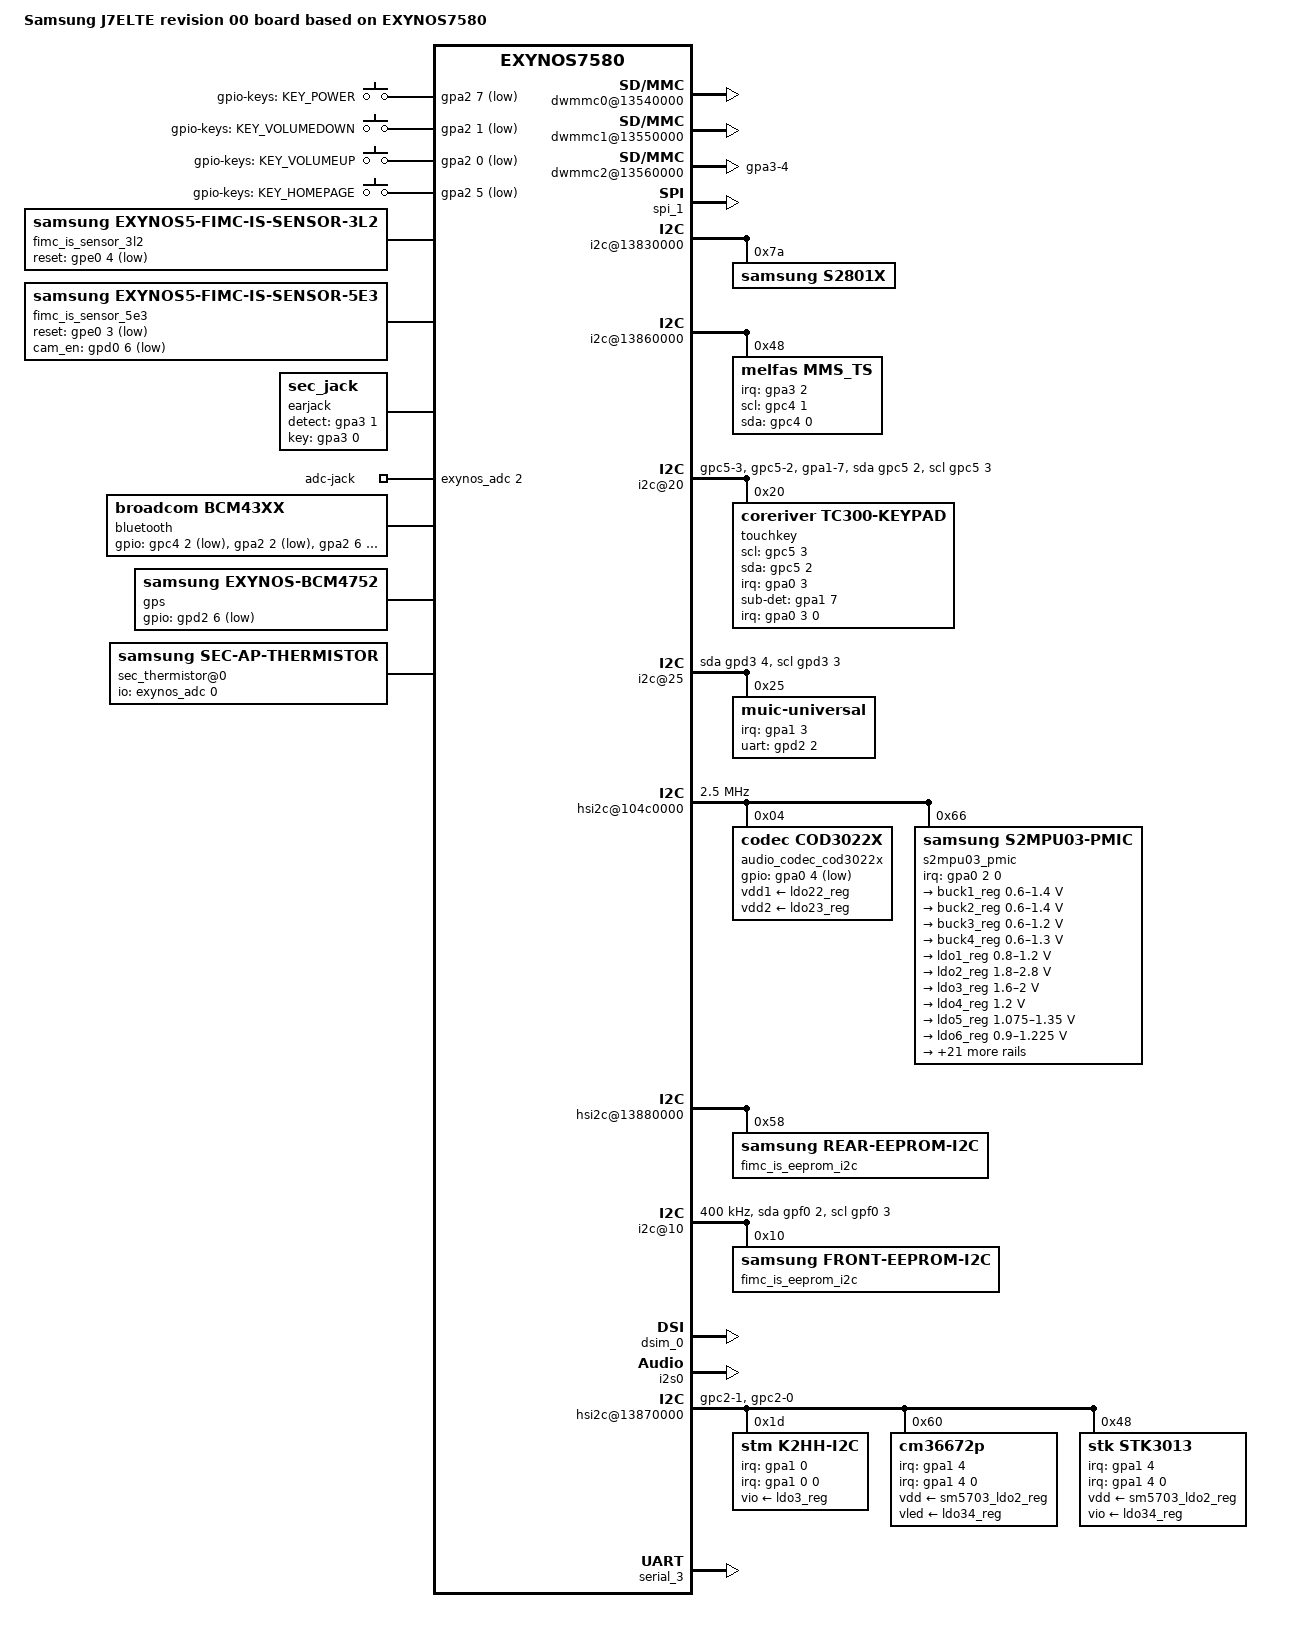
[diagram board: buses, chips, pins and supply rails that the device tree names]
/*
 * SAMSUNG Universal7580 board device tree source
 *
 * Copyright (c) 2014 Samsung Electronics Co., Ltd.
 *		http://www.samsung.com
 *
 * This program is free software; you can redistribute it and/or modify
 * it under the terms of the GNU General Public License version 2 as
 * published by the Free Software Foundation.
 */
/dts-v1/;
#include "exynos7580-reserve-1500MB.dtsi"
#include "exynos7580.dtsi"
#include "modem-isla-pdata.dtsi"
#include "exynos7580-j7elte_battery.dtsi"
#include "exynos7580-j7elte_gpio_04.dtsi"
/ {
	model = "Samsung J7ELTE revision 00 board based on EXYNOS7580";
	model_info-chip = <7580>;
	model_info-platform = "android";
	model_info-subtype = "samsung";
	model_info-hw_rev = <4>;
	model_info-hw_rev_end = <5>;
	compatible = "samsung,exynos7580-universal7580,r01", "samsung,exynos7580";
	chosen {
		bootargs = "console=ttySAC1,115200n8 ess_setup=0x46000000 pmic_info=0x02";
		linux,initrd-start = <0x42000000>;
		linux,initrd-end = <0x421FFFFF>;
	};
	fixed-rate-clocks {
		oscclk {
			compatible = "samsung,exynos7580-oscclk";
			clock-frequency = <26000000>;
		};
	};
	dwmmc0@13540000 {
		status = "okay";
		num-slots = <1>;
		broken-cd;
		use-smu;
		fixed_volt;
		clock-gate;
		enable-cclk-on-suspend;
		only_once_tune;
		use-fine-tuning;
		ignore-phase = <(1 << 7)>;
		bypass-for-allpass;
		supports-highspeed;
		supports-hs200-mode;
		supports-ddr200-enhanced-strobe;
		supports-poweroff-notification;
		supports-ddr200-mode;
		enable-cache-control;
		use-enable-shift;
		enable-ulp-mode;
		desc-size = <4>;
		qos_int_level = <200000>;
		fifo-depth = <0x40>;
		card-detect-delay = <100>;
		data-timeout = <200>;
		samsung,dw-mshc-ciu-div = <3>;
		samsung,dw-mshc-sdr-timing = <3 0 2 0>;
		samsung,dw-mshc-ddr-timing = <3 0 2 2>;
		samsung,dw-mshc-hs200-timing = <3 0 3 0>;
		samsung,dw-mshc-ddr200-timing = <1 0 2 0>;
		samsung,dw-mshc-ddr200-ulp-timing = <3 0 3 0>;
		samsung,dw-mshc-ddr200-delay-line = <0x28>;
		samsung,dw-mshc-ddr200-tx-delay-line = <0x28>;
		samsung,dw-mshc-txdt-crc-timer-fastlimit = <0x34>;
		samsung,dw-mshc-txdt-crc-timer-initval = <0x38>;
		clk_pin = "gpr0-0";
		clk_addr = "13750000.pinctrl";
		clk_val = <0x2>;
		clk_str_num = <3>;
		num-ref-clks = <10>;
		ciu_clkin = <25 50 50 100 200 100 200 400 400 200>;
		pinctrl-names = "default";
		pinctrl-0 = <&sd0_clk &sd0_cmd &sd0_rdqs &sd0_bus1 &sd0_bus4 &sd0_bus8>;
		slot@0 {
			reg = <0>;
			bus-width = <8>;
		};
	};
	dwmmc1@13550000 {
		status = "okay";
		num-slots = <1>;
		channel = <1>;
		fixed_volt;
		clock-gate;
		enable-cclk-on-suspend;
		/* broken-cd; */
		caps-control;
		supports-highspeed;
		keep-power-in-suspend;
		pm-ignore-notify;
		cd-type-external;
		use-broken-voltage;
		use-fine-tuning;
		ignore-phase = <(1 << 7)>;
		fifo-depth = <0x40>;
		card-detect-delay = <200>;
		qos_int_level = <468000>;
		samsung,dw-mshc-ciu-div = <3>;
		samsung,dw-mshc-sdr-timing = <3 0 2 1>;
		samsung,dw-mshc-ddr-timing = <3 0 2 1>;
		clk_pin = "gpr2-0";
		clk_addr = "13750000.pinctrl";
		clk_val = <0x2>;
		clk_str_num = <6>;
		num-ref-clks = <8>;
		ciu_clkin = <25 50 50 100 200 100 200 400>;
		tp_mon_depth = <2>;
				/* Byte/s,  MIF clk, CPU clk, KFC clk*/
                tp_mon_table = <8000000 825000  800000  0
				0       0       0       0>;
		pinctrl-names = "default";
		pinctrl-0 = <&sd1_clk &sd1_cmd &sd1_bus1 &sd1_bus4>;
		slot@0 {
			reg = <0>;
			bus-width = <4>;
		};
	};
	dwmmc2@13560000 {
		status = "okay";
		num-slots = <1>;
		supports-highspeed;
		enable-cclk-on-suspend;
		supports-sdr104-mode;
		bypass-smu;
		use-fine-tuning;
		clock-gate;
		fifo-depth = <0x40>;
		card-detect-delay = <200>;
		data-timeout = <200>;
		ignore-phase = <(1 << 7)>;
		bypass-for-allpass;
		desc-size = <4>;
		samsung,dw-mshc-ciu-div = <3>;
		samsung,dw-mshc-sdr-timing = <3 0 2 0>;
		samsung,dw-mshc-ddr-timing = <3 0 2 1>;
		clk_pin = "gpr4-0";
		clk_addr = "13750000.pinctrl";
		clk_val = <0x2>;
		clk_str_num = <3>;
		num-ref-clks = <8>;
		ciu_clkin = <25 50 50 100 200 100 200 400>;
		pinctrl-names = "default", "output";
		pinctrl-0 = <&sd2_clk &sd2_cmd &sd2_bus1 &sd2_bus4 &dwmmc2_cd_ext_irq>;
		pinctrl-1 = <&sd2_clk_output &sd2_cmd_output &sd2_bus1 &sd2_bus4 &dwmmc2_cd_ext_irq>;
		gpio-controller;
		cd-type-gpio;
		sec-sd-slot-type = <1>; /* Normal SD slot */
		#gpio-cells = <2>;
		cd-gpio = <&gpa3 4 0xf>;
		slot@0 {
			reg = <0>;
			bus-width = <4>;
			disable-wp;
		};
	};
	gpio_keys{
		compatible = "gpio-keys";
		pinctrl-names = "default";
		pinctrl-0 = <&gpa2_pull_up_univ>;
		button@1 {
			label = "gpio-keys: KEY_POWER";
			interrupt-parent = <&gpa2>;
			linux,code = <116>;
			gpios = <&gpa2 7 0xf>;
			gpio-key,wakeup = <1>;
		};
		button@2 {
			label = "gpio-keys: KEY_VOLUMEDOWN";
			interrupt-parent = <&gpa2>;
			linux,code = <114>;
			gpios = <&gpa2 1 0xf>;
		};
		button@3 {
			label = "gpio-keys: KEY_VOLUMEUP";
			interrupt-parent = <&gpa2>;
			linux,code = <115>;
			gpios = <&gpa2 0 0xf>;
		};
		button@4 {
			label = "gpio-keys: KEY_HOMEPAGE";
			interrupt-parent = <&gpa2>;
			linux,code = <172>;
			gpios = <&gpa2 5 0xf>;
			gpio-key,wakeup = <1>;
		};
	};
	pinctrl@138D0000 {
		i2c_pdn_off: i2c-pdn_off {
			samsung,pins = "gpc4-1", "gpc4-0";
			samsung,pin-con-pdn = <2>;
			samsung,pin-pud-pdn = <1>;
		};
	};
	pinctrl@139B0000 {
		pmic_irq: pmic-irq {
			samsung,pins = "gpa0-2";
			samsung,pin-pud = <3>;
			samsung,pin-drv = <3>;
		};
		cfg_irq: cfg-irq {
			samsung,pins = "gpa0-3";
			samsung,pin-function = <0xf>;
			samsung,pin-pud = <3>;
			samsung,pin-drv = <0>;
		};
		cfg_input: cfg-input {
			samsung,pins = "gpa0-3";
			samsung,pin-function = <0>;
			samsung,pin-pud = <1>;
			samsung,pin-drv = <0>;
		};
		cod3022_irq: cod3022-irq {
			samsung,pins = "gpa0-4";
			samsung,pin-pud = <3>;
			samsung,pin-drv = <3>;
		};
		if_irq: if-irq {
			samsung,pins = "gpa0-5";
			samsung,pin-pud = <3>;
			samsung,pin-drv = <3>;
		};
		hall_irq: hall-irq {
			samsung,pins = "gpa3-6";
	                samsung,pin-function = <0xf>;
			samsung,pin-pud = <0>;
			samsung,pin-drv = <0>;
		};
		muic_irq: muic-irq {
			samsung,pins = "gpa1-3";
			samsung,pin-pud = <0>;
			samsung,pin-drv = <0>;
		};
		sub_det: sub-det {
			samsung,pins = "gpa1-7";
			samsung,pin-function = <0>;
			samsung,pin-pud = <0>;
			samsung,pin-drv = <0>;
		};
		attn_input: attn-input {
			samsung,pins = "gpa3-2";
			samsung,pin-function = <0>;
			samsung,pin-pud = <0>;
			samsung,pin-drv = <0>;
		};
		attn_irq: attn-irq {
			samsung,pins = "gpa3-2";
			samsung,pin-function = <0xf>;
			samsung,pin-pud = <0>;
			samsung,pin-drv = <0>;
		};
		dwmmc2_cd_ext_irq: dwmmc2_cd_ext_irq {
			samsung,pins = "gpa3-4";
			samsung,pin-function = <0xf>;
			samsung,pin-pud = <3>;
			samsung,pin-drv = <0>;
		};
		earjack_jack_det: jack-det {
			samsung,pins = "gpa3-1";
			samsung,pin-function = <0xf>;
			samsung,pin-pud = <0>;
			samsung,pin-drv = <0>;
		};
		earjack_key_det: key-det {
			samsung,pins = "gpa3-0";
			samsung,pin-function = <0xf>;
			samsung,pin-pud = <0>;
			samsung,pin-drv = <0>;
		};
	};
	pinctrl@139C0000 {
		vibetonz_pwm: vibetonz_pwm {
			samsung,pins = "gpc1-1";
			samsung,pin-function = <2>;
			samsung,pin-pud = <0>;
			samsung,pin-drv = <0>;
		};
		cfg_i2c: cfg-i2c {
			samsung,pins = "gpc5-3", "gpc5-2";
			samsung,pin-function = <2>;
			samsung,pin-pud = <0>;
			samsung,pin-drv = <0>;
		};
		cfg_gpio: cfg-gpio {
			samsung,pins = "gpc5-3", "gpc5-2";
			samsung,pin-function = <0>;
			samsung,pin-pud = <0>;
			samsung,pin-drv = <0>;
		};
		motor_en: motor_en {
			samsung,pins = "gpe0-7";
			samsung,pin-function = <1>;	/* output */
			samsung,pin-pud = <3>;		/* pull up */
			samsung,pin-drv = <0>;
		};
		/* Warm reset information from AP */
		pm_wrsti: pm-wrsti {
			samsung,pins = "gpe1-0";
			samsung,pin-con-pdn = <3>;
		};
	};
	spi_1: spi@13920000 {
		/delete-property/ dma-mode;
		/delete-property/ dmas;
		/delete-property/ dma-names;
		#address-cells = <1>;
		#size-cells = <0>;
		pinctrl-names = "default";
		pinctrl-0 = <&spi1_bus>;
		pinctrl-1 = <&spi1_cs>;
		status = "okay";
	};
	i2c@13830000 {
		samsung,i2c-sda-delay = <100>;
		samsung,i2c-max-bus-freq = <400000>;
		status = "okay";
		#address-cells = <1>;
		#size-cells = <0>;
		supports-bus-clear;
		s2801x: s2801x@7a {
			compatible = "samsung,s2801x";
			reg = <0x7a>;
			clocks = <&clock 154>,	/* sclk_audmixer */
				 <&clock 155>,	/* sclk_audmixer_bclk0*/
				 <&clock 156>,	/* sclk_audmixer_bclk1 */
				 <&clock 157>,	/* sclk_audmixer_bclk2 */
				 <&clock 152>,	/* bclk_mi2s */
				 <&clock 149>;	/* dout_audmixer*/
			clock-names = "audmixer_sysclk", "audmixer_bclk0",
					"audmixer_bclk1", "audmixer_bclk2",
					"mi2s_bclk", "audmixer_dout";
			sysreg-reset = <0x110F2000>;
			sysreg-i2c = <0x110F3000>;
			pinctrl-names = "default", "idle", "bt-idle";
			pinctrl-0 = <&i2s_pmic_bus
					&i2s_codec_clk
					&pcm_bt_bus>;
			pinctrl-1 = <&i2s_pmic_bus_idle
					&i2s_codec_clk_idle
					&pcm_bt_bus_idle>;
			pinctrl-2 = <&i2s_pmic_bus
					&i2s_codec_clk
					&pcm_bt_bus_idle>;
			samsung,lpass-subip;
		};
	};
	i2c@13860000 {
		samsung,i2c-sda-delay = <100>;
		samsung,i2c-max-bus-freq = <400000>;
		status = "okay";
		#address-cells = <1>;
		#size-cells = <0>;
		mms_ts@48 {
			compatible = "melfas,mms_ts";
			reg = <0x48>;
			pinctrl-names = "on_state", "off_state";
			pinctrl-0 = <&attn_irq>;
			pinctrl-1 = <&attn_input &i2c_pdn_off>;
			melfas,vdd_en = "tsp_avdd";
			melfas,irq-gpio = <&gpa3 2 0>;
			melfas,scl-gpio = <&gpc4 1 0>;
			melfas,sda-gpio = <&gpc4 0 0>;
			melfas,max_x = <1080>;
			melfas,max_y = <1920>;
			melfas,fw_name = "tsp_melfas/mms438_j7.fw";
		};
	};
	i2c@20 {
		compatible = "i2c-gpio";
		gpios = <&gpc5 2 0
				&gpc5 3 0>;
		i2c-gpio,delay-us = <5>;
		pinctrl-names = "default","on_i2c","off_i2c";
		pinctrl-0 = <&cfg_i2c &sub_det>;
		pinctrl-1 = <&cfg_i2c>;
		pinctrl-2 = <&cfg_gpio>;
		#address-cells = <1>;
		#size-cells = <0>;
		status = "okay";
		touchkey@20 {
			pinctrl-names = "on_irq","off_irq";
			pinctrl-0 = <&cfg_irq>;
			pinctrl-1 = <&cfg_input>;
			compatible = "coreriver,tc300-keypad";
			reg = <0x20>;
			interrupts = <3 0 0>;
			interrupt-parent = <&gpa0>;
			coreriver,scl-gpio = <&gpc5 3 0>;
			coreriver,sda-gpio = <&gpc5 2 0>;
			coreriver,irq-gpio = <&gpa0 3 0>;
			coreriver,sub-det-gpio = <&gpa1 7 0>;
			coreriver,i2c-gpio = "true";
			coreriver,boot-on-ldo = "true";
			coreriver,regulator_ic = "vtouch_2.2v";
			coreriver,fw_name = "coreriver/tc350k_j7.fw";
			coreriver,sensing_ch_num = <0x4>;
			coreriver,tsk_ic_num = <0x1>; /* tc300k : 0x00, tc350k : 0x01 */
			coreriver,use_bitmap = <1>;
		};
	};
	i2c@25 {
		compatible = "i2c-gpio";
		gpios = <&gpd3 4 0
			&gpd3 3 0>;
		i2c-gpio,delay-us = <5>;
		#address-cells = <1>;
		#size-cells = <0>;
		status = "okay";
		muic-universal@25 {
			status = "okay";
			compatible = "muic-universal";
			reg = <0x25>;
			pinctrl-names = "default";
			pinctrl-0 = <&muic_irq>;
			muic-universal,chip_name = "sm,sm5703";
			muic-universal,irq-gpio = <&gpa1 3 0>;
			muic-universal,uart-gpio = <&gpd2 2 0>;
			muic-universal,uart-ap = <0x1>;
		};
	};
	muic {
		status = "disabled";
		muic,support-list = "+OTG:GND",
					"-MHL:1K",
					"-VZW Accessory:28.7K",
					"-VZW Incompatible:34K",
					"-Smartdock:40.2K",
					"-HMT:49.9K",
					"-Audiodock:64.9K",
					"-USB LANHUB:80.07K",
					"+Charging Cable:102K",
					"-Universal Multimedia dock:121K",
					"+Jig USB Off:255K",
					"+Jig USB On:301K",
					"-Deskdock:365K",
					"+TYPE2 Charger:442K",
					"+Jig UART Off:523K",
					"+Jig UART On:619K",
					"+TA:OPEN",
					"+USB:OPEN",
					"+CDP:OPEN",
					"+Undefined Charging:XXX";
	};
	hsi2c@104c0000 {
		status = "okay";
		samsung,hs-mode;
		clock-frequency = <2500000>;
		samsung,hsi2c-batcher;
		#address-cells = <1>;
		#size-cells = <0>;
		audio_codec_cod3022x: cod3022x@04 {
			compatible = "codec,cod3022x";
			reg = <0x04>;
			ten-bit-address;
			vdd1-supply = <&ldo22_reg>;
			vdd2-supply = <&ldo23_reg>;
			pinctrl-names = "default";
			pinctrl-0 = <&cod3022_irq>;
			interrupt-parent = <&gpa0>;
			gpios = <&gpa0 4 0xf>;
			/* Mic Bias: 0->n/a, 1->2.8v, 2->2.6v, 3->3.0v */
			mic-bias1-voltage = <1>;
			mic-bias2-voltage = <1>;
		};
		s2mpu03_pmic@66 {
			compatible = "samsung,s2mpu03-pmic";
			reg = <0x66>;
			ten-bit-address;
			interrupts = <2 0 0>;
			interrupt-parent = <&gpa0>;
			pinctrl-names = "default";
			pinctrl-0 = <&pmic_irq &pm_wrsti>;
			g3d_en = <1>; /* 1 : enable , 0 : disable */
			/*
			buck4en_pin = "etc1-3";
			buck4en_addr = "1111111.pinctrl";
			*/
			/* RTC: wtsr/smpl */
			wtsr_en = <1>; /* enable */
			smpl_en = <1>; /* enable */
			wtsr_timer_val = <3>;   /* 1000ms */
			smpl_timer_val = <4>;   /* 500ms */
			check_jigon = <0>; /* do not check jigon */
			/* RTC: If it's first boot, reset rtc to 1/1/2015 12:00:00(Thu) */
			init_time,sec = <0>;
			init_time,min = <0>;
			init_time,hour = <12>;
			init_time,mday = <1>;
			init_time,mon = <0>;
			init_time,year = <115>;
			init_time,wday = <4>;
			regulators {
				buck1_reg: BUCK1 {
					regulator-name = "cpu-cluster.1";
					regulator-min-microvolt = <600000>;
					regulator-max-microvolt = <1400000>;
					regulator-always-on;
					regulator-boot-on;
					regulator-ramp-delay = <12000>;
					regulator-initial-mode = <1>;
				};
				buck2_reg: BUCK2 {
					regulator-name = "cpu-cluster.0";
					regulator-min-microvolt = <600000>;
					regulator-max-microvolt = <1400000>;
					regulator-always-on;
					regulator-boot-on;
					regulator-ramp-delay = <12000>;
					regulator-initial-mode = <1>;
				};
				buck3_reg: BUCK3 {
					regulator-name = "vdd_intmif";
					regulator-min-microvolt = <600000>;
					regulator-max-microvolt = <1200000>;
					regulator-always-on;
					regulator-boot-on;
					regulator-ramp-delay = <12000>;
					regulator-initial-mode = <1>;
				};
				buck4_reg: BUCK4 {
					regulator-name = "vdd_g3d";
					regulator-min-microvolt = <600000>;
					regulator-max-microvolt = <1300000>;
					regulator-always-on;
					regulator-boot-on;
					regulator-ramp-delay = <12000>;
					regulator-initial-mode = <1>;
				};
				ldo1_reg: LDO1 {
					regulator-name = "vdd_ldo1";
					regulator-min-microvolt = <800000>;
					regulator-max-microvolt = <1200000>;
					regulator-always-on;
					regulator-ramp-delay = <12000>;
					regulator-initial-mode = <3>;
				};
				ldo2_reg: LDO2 {
					regulator-name = "vqmmc";
					regulator-min-microvolt = <1800000>;
					regulator-max-microvolt = <2800000>;
					regulator-boot-on;
					regulator-ramp-delay = <12000>;
					regulator-initial-mode = <1>;
				};
				ldo3_reg: LDO3 {
					regulator-name = "vdd_ldo3";
					regulator-min-microvolt = <1600000>;
					regulator-max-microvolt = <2000000>;
					regulator-boot-on;
					regulator-always-on;
					regulator-ramp-delay = <12000>;
					regulator-initial-mode = <3>;
				};
				ldo4_reg: LDO4 {
					regulator-name = "vdd_ldo4";
					regulator-min-microvolt = <1200000>;
					regulator-max-microvolt = <1200000>;
					regulator-boot-on;
					regulator-always-on;
					regulator-ramp-delay = <12000>;
					regulator-initial-mode = <1>;
				};
				ldo5_reg: LDO5 {
					regulator-name = "vdd_ldo5";
					regulator-min-microvolt = <1075000>;
					regulator-max-microvolt = <1350000>;
					regulator-boot-on;
					regulator-always-on;
					regulator-ramp-delay = <12000>;
					regulator-initial-mode = <3>;
				};
				ldo6_reg: LDO6 {
					regulator-name = "vdd_ldo6";
					regulator-min-microvolt = <900000>;
					regulator-max-microvolt = <1225000>;
					regulator-boot-on;
					regulator-always-on;
					regulator-ramp-delay = <12000>;
					regulator-initial-mode = <1>;
				};
				ldo7_reg: LDO7 {
					regulator-name = "vdd_ldo7";
					regulator-min-microvolt = <1600000>;
					regulator-max-microvolt = <2000000>;
					regulator-boot-on;
					regulator-always-on;
					regulator-initial-mode = <1>;
				};
				ldo8_reg: LDO8 {
					regulator-name = "vdd_ldo8";
					regulator-min-microvolt = <2250000>;
					regulator-max-microvolt = <3300000>;
					regulator-boot-on;
					regulator-always-on;
					regulator-initial-mode = <1>;
				};
				ldo10_reg: LDO10 {
					regulator-name = "vdd_ldo10";
					regulator-min-microvolt = <800000>;
					regulator-max-microvolt = <1350000>;
					regulator-always-on;
					regulator-initial-mode = <1>;
				};
				ldo22_reg: LDO22 {
					regulator-name = "codec_ldo22";
					regulator-min-microvolt = <1000000>;
					regulator-max-microvolt = <2375000>;
					regulator-initial-mode = <3>;
				};
				ldo23_reg: LDO23 {
					regulator-name = "codec_ldo23";
					regulator-min-microvolt = <1000000>;
					regulator-max-microvolt = <2375000>;
					regulator-initial-mode = <3>;
				};
				ldo24_reg: LDO24 {
					regulator-name = "vdd_ldo24";
		   			regulator-min-microvolt = <1800000>;
		   			regulator-max-microvolt = <3375000>;
		   			regulator-always-on;
		   			regulator-boot-on;
		   			regulator-initial-mode = <3>;
	   			};
				ldo25_reg: LDO25 {
		   			regulator-name = "vdd_ldo25";
		   			regulator-min-microvolt = <1000000>;
		   			regulator-max-microvolt = <2375000>;
		   			regulator-always-on;
		   			regulator-boot-on;
		   			regulator-initial-mode = <3>;
	   			};
				ldo26_reg: LDO26 {
					regulator-name = "vmmc";
					regulator-min-microvolt = <2800000>;
					regulator-max-microvolt = <2800000>;
					regulator-boot-on;
				};
				ldo27_reg: LDO27 {
					regulator-name = "VDDIO_1.8V_CAM";
					regulator-min-microvolt = <1800000>;
					regulator-max-microvolt = <1800000>;
					regulator-initial-mode = <0>;
				};
				ldo28_reg: LDO28 {
					regulator-name = "vtouch_2.2v";
					regulator-min-microvolt = <2200000>;
					regulator-max-microvolt = <2200000>;
					/* regulator-always-on; */
					regulator-boot-on;
					regulator-initial-mode = <1>;
				};
				ldo29_reg: LDO29 {
					regulator-name = "VDD_VTCAM_SENSOR_A2P8";
					regulator-min-microvolt = <2800000>;
					regulator-max-microvolt = <2800000>;
					regulator-initial-mode = <0>;
				};
				ldo30_reg: LDO30 {
					regulator-name = "LCD_3P0";
					regulator-min-microvolt = <3000000>;
					regulator-max-microvolt = <3000000>;
					regulator-boot-on;
					regulator-initial-mode = <3>;
				};
				ldo31_reg: LDO31 {
					regulator-name = "LCD_1P8";
					regulator-min-microvolt = <1800000>;
					regulator-max-microvolt = <1800000>;
					regulator-boot-on;
					regulator-initial-mode = <3>;
				};
				ldo32_reg: LDO32 {
					regulator-name = "VDDIO_1.8V_VT";
					regulator-min-microvolt = <1800000>;
					regulator-max-microvolt = <1800000>;
					regulator-initial-mode = <0>;
				};
				ldo33_reg: LDO33 {
					regulator-name = "tsp_avdd";
					regulator-min-microvolt = <3000000>;
					regulator-max-microvolt = <3000000>;
					regulator-initial-mode = <1>;
				};
				ldo34_reg: LDO34 {
					regulator-name = "VDD_SENSOR_2P85";
					regulator-min-microvolt = <2850000>;
					regulator-max-microvolt = <2850000>;
					regulator-initial-mode = <0>;
				};
				ldo35_reg: LDO35 {
					regulator-name = "VDD_CAM_SENSOR_A2P8";
					regulator-min-microvolt = <2800000>;
					regulator-max-microvolt = <2800000>;
					regulator-initial-mode = <0>;
				};
				ldo36_reg: LDO36 {
					regulator-name = "VDD_CAM_1P2";
					regulator-min-microvolt = <1200000>;
					regulator-max-microvolt = <1200000>;
					regulator-initial-mode = <0>;
				};
				ldo37_reg: LDO37 {
					regulator-name = "VDD_MOTOR";
					regulator-min-microvolt = <3300000>;
					regulator-max-microvolt = <3300000>;
				};
				ldo38_reg: LDO38 {
					regulator-name = "ldo38";
					regulator-min-microvolt = <2800000>;
					regulator-max-microvolt = <2800000>;
					regulator-always-on;
					regulator-initial-mode = <1>;
				};
				ldo39_reg: LDO39 {
					regulator-name = "ldo39";
					regulator-min-microvolt = <1800000>;
					regulator-max-microvolt = <1800000>;
					regulator-always-on;
					regulator-initial-mode = <3>;
				};
			};
		};
	};
	hsi2c@13880000 {
		status = "okay";
		fimc_is_eeprom_i2c@58 {
			compatible = "samsung,rear-eeprom-i2c";
			reg = <0x58>;
			fimc_is_rear_eeprom_pinname = "139C0000.pinctrl";
			fimc_is_rear_eeprom_sda = "gpc2-2";
			fimc_is_rear_eeprom_scl = "gpc2-3";
		};
	};
	i2c@10 {
		compatible = "i2c-gpio";
		gpios = <&gpf0 2 0x0 /*sda*/
			&gpf0 3 0x0  /*scl*/
			>;
		i2c-gpio,delay-us = <2>;
		status = "okay";
		clock-frequency = <400000>;
		fimc_is_eeprom_i2c@10 {
			compatible = "samsung,front-eeprom-i2c";
			reg = <0x10>;
			use_i2c_pinctrl;
			fimc_is_front_eeprom_pinname = "139c0000.pinctrl";
			fimc_is_front_eeprom_sda = "gpf0-2";
			fimc_is_front_eeprom_scl = "gpf0-3";
			pinfunc_on = <0>;
			pinfunc_off = <2>;
		};
	};
	fimc_is_sensor_3l2: fimc-is_sensor_3l2@0 {
		compatible = "samsung,exynos5-fimc-is-sensor-3l2";
		pinctrl-names = "pin0", "pin1";
		pinctrl-0 = <&fimc_is_mclk0_fn &fimc_is_i2c0>; /* rear on */
		pinctrl-1 = <&fimc_is_mclk0_in &fimc_is_i2c0>; /* rear off */
		position = <0>; /* Rear:0. Front:1 */
		id = <0>; /* bns_id */
		mclk_ch = <0>;
		sensor_i2c_ch = <0>; /* I2C 0 */
		sensor_i2c_addr = <0x5A>;
		gpio_reset = <&gpe0 4 0x1>; /* sensor reset */
		status = "okay";
		af {
			product_name = <13>; /* DW9807 */
			i2c_addr = <0x18>;
			i2c_ch = <0>; /* I2C 0 */
		};
		flash {
			product_name = <11>; /* GPIO */
			flash_first_gpio = <2>;
			flash_second_gpio = <1>;
		};
	};
	fimc_is_sensor_5e3: fimc-is_sensor_5e3@0 {
		compatible = "samsung,exynos5-fimc-is-sensor-5e3";
		pinctrl-names = "pin0", "pin1";
		pinctrl-0 = <&fimc_is_mclk1_fn &fimc_is_i2c1>; /* front on */
		pinctrl-1 = <&fimc_is_mclk1_in &fimc_is_i2c1>; /* front off */
		position = <1>; /* Rear:0. Front:1 */
		id = <1>; /* bns_id */
		mclk_ch = <1>;
		sensor_i2c_ch = <1>;
		sensor_i2c_addr = <0x20>;
		gpio_reset = <&gpe0 3 0x1>;
		gpios_cam_en = <&gpd0 6 0x1>;
		status = "okay";
		flash {
			product_name = <5>; /* KTD2692 */
			flash_first_gpio = <5>; /* GP5 */
			flash_second_gpio = <5>; /* don't care */
		};
	};
	fimc_is_sensor0: fimc_is_sensor@144a0000 {
		scenario = <0>;
		id = <0>;
		mclk_ch = <0>;
		csi_ch = <0>;
		flite_ch = <0>;
		i2c_ch = <0>;
		i2c_addr = <0x0>;
		is_bns = <1>;
		status = "okay";
	};
	fimc_is_sensor1: fimc_is_sensor@144b0000 {
		scenario = <0>;
		id = <1>;
		mclk_ch = <1>;
		csi_ch = <1>;
		flite_ch = <1>;
		i2c_ch = <1>;
		i2c_addr = <0x0>;
		is_bns = <0>;
		status = "okay";
	};
	fimc_is@14400000 {
		rear_sensor_id = <8>;
		front_sensor_id = <17>;
		use_module_check;
		total_camera_num = <2>;
		camera_info0 {				// 0 : rear
			isp = <0>;				/* 0 : INT , 1 : EXT , 2 : SOC */
			cal_memory = <2>;		/* 0 : N , 1 : FROM , 2 : EEPROM , 3 : OTP  */
			read_version = <0>;		/* 0 : SYSFS , 1 : CAMON */
			core_voltage = <0>;		/* 0 : N , 1 : Y  */
			upgrade = <0>;			/* 0 : N , 1 : SYSFS , 2 : CAMON */
			companion = <0>;	/* 0 : N , 1 : Y  */
			ois = <0>;				/* 0 : N , 1 : Y  */
		};
		camera_info1 {				// 1 : front
			isp = <0>;				/* 0 : INT , 1 : EXT , 2 : SOC */
			cal_memory = <2>;		/* 0 : N , 1 : FROM , 2 : EEPROM , 3 : OTP  */
			read_version = <0>;		/* 0 : SYSFS , 1 : CAMON */
			core_voltage = <0>;		/* 0 : N , 1 : Y  */
			upgrade = <0>;			/* 0 : N , 1 : SYSFS , 2 : CAMON */
			companion = <0>;	/* 0 : N , 1 : Y  */
			ois = <0>;				/* 0 : N , 1 : Y  */
		};
		#define DVFS_INT_L0 400000
		#define DVFS_INT_L1 334000
		#define DVFS_INT_L2 267000
		#define DVFS_INT_L3 200000
		#define DVFS_INT_L4 160000
		#define DVFS_INT_L5 134000
		#define DVFS_INT_L6 111000
		#define DVFS_INT_L7 100000
		#define DVFS_CAM_L0 530000
		#define DVFS_CAM_L1 430000
		#define DVFS_CAM_L2 400000
		#define DVFS_CAM_L3 334000
		#define DVFS_CAM_L4 267000
		#define DVFS_CAM_L5 200000
		#define DVFS_MIF_L0 825000
		#define DVFS_MIF_L1 728000
		#define DVFS_MIF_L2 667000
		#define DVFS_MIF_L3 559000
		#define DVFS_MIF_L4 416000
		#define DVFS_MIF_L5 338000
		#define DVFS_MIF_L6 273000
		#define DVFS_MIF_L7 200000
		fimc_is_dvfs {
			default_int = <DVFS_INT_L0>;
			default_cam = <DVFS_CAM_L0>;
			default_mif = <DVFS_MIF_L0>;
			default_i2c = <0>;
			front_preview_int = <DVFS_INT_L3>;
			front_preview_cam = <DVFS_CAM_L4>;
			front_preview_mif = <DVFS_MIF_L3>;
			front_preview_i2c = <0>;
			front_capture_int = <DVFS_INT_L3>;
			front_capture_cam = <DVFS_CAM_L4>;
			front_capture_mif = <DVFS_MIF_L3>;
			front_capture_i2c = <0>;
			front_video_int = <DVFS_INT_L3>;
			front_video_cam = <DVFS_CAM_L4>;
			front_video_mif = <DVFS_MIF_L3>;
			front_video_i2c = <0>;
			front_video_whd_int = <DVFS_INT_L3>;
			front_video_whd_cam = <DVFS_CAM_L4>;
			front_video_whd_mif = <DVFS_MIF_L3>;
			front_video_whd_i2c = <0>;
			front_video_capture_int = <DVFS_INT_L3>;
			front_video_capture_cam = <DVFS_CAM_L4>;
			front_video_capture_mif = <DVFS_MIF_L3>;
			front_video_capture_i2c = <0>;
			front_video_whd_capture_int = <DVFS_INT_L0>;
			front_video_whd_capture_cam = <DVFS_CAM_L0>;
			front_video_whd_capture_mif = <DVFS_MIF_L0>;
			front_video_whd_capture_i2c = <0>;
			front_vt1_int = <DVFS_INT_L3>;
			front_vt1_cam = <DVFS_CAM_L4>;
			front_vt1_mif = <DVFS_MIF_L3>;
			front_vt1_i2c = <0>;
			front_vt2_int = <DVFS_INT_L3>;
			front_vt2_cam = <DVFS_CAM_L4>;
			front_vt2_mif = <DVFS_MIF_L3>;
			front_vt2_i2c = <0>;
			rear_preview_fhd_int = <DVFS_INT_L3>;
			rear_preview_fhd_cam = <DVFS_CAM_L2>;
			rear_preview_fhd_mif = <DVFS_MIF_L2>;
			rear_preview_fhd_i2c = <0>;
			rear_preview_whd_int = <DVFS_INT_L0>;
			rear_preview_whd_cam = <DVFS_CAM_L0>;
			rear_preview_whd_mif = <DVFS_MIF_L0>;
			rear_preview_whd_i2c = <0>;
			rear_preview_uhd_int = <DVFS_INT_L0>;
			rear_preview_uhd_cam = <DVFS_CAM_L0>;
			rear_preview_uhd_mif = <DVFS_MIF_L0>;
			rear_preview_uhd_i2c = <0>;
			rear_capture_int = <DVFS_INT_L3>;
			rear_capture_cam = <DVFS_CAM_L2>;
			rear_capture_mif = <DVFS_MIF_L2>;
			rear_capture_i2c = <0>;
			rear_video_fhd_int = <DVFS_INT_L3>;
			rear_video_fhd_cam = <DVFS_CAM_L2>;
			rear_video_fhd_mif = <DVFS_MIF_L2>;
			rear_video_fhd_i2c = <0>;
			rear_video_uhd_int = <DVFS_INT_L0>;
			rear_video_uhd_cam = <DVFS_CAM_L0>;
			rear_video_uhd_mif = <DVFS_MIF_L0>;
			rear_video_uhd_i2c = <0>;
			rear_video_fhd_capture_int = <DVFS_INT_L3>;
			rear_video_fhd_capture_cam = <DVFS_CAM_L2>;
			rear_video_fhd_capture_mif = <DVFS_MIF_L2>;
			rear_video_fhd_capture_i2c = <0>;
			rear_video_uhd_capture_int = <DVFS_INT_L0>;
			rear_video_uhd_capture_cam = <DVFS_CAM_L0>;
			rear_video_uhd_capture_mif = <DVFS_MIF_L0>;
			rear_video_uhd_capture_i2c = <0>;
			dual_preview_int = <DVFS_INT_L0>;
			dual_preview_cam = <DVFS_CAM_L0>;
			dual_preview_mif = <DVFS_MIF_L0>;
			dual_preview_i2c = <0>;
			dual_capture_int = <DVFS_INT_L0>;
			dual_capture_cam = <DVFS_CAM_L0>;
			dual_capture_mif = <DVFS_MIF_L0>;
			dual_capture_i2c = <0>;
			dual_video_int = <DVFS_INT_L0>;
			dual_video_cam = <DVFS_CAM_L0>;
			dual_video_mif = <DVFS_MIF_L0>;
			dual_video_i2c = <0>;
			dual_video_capture_int = <DVFS_INT_L0>;
			dual_video_capture_cam = <DVFS_CAM_L0>;
			dual_video_capture_mif = <DVFS_MIF_L0>;
			dual_video_capture_i2c = <0>;
			preview_high_speed_fps_int = <DVFS_INT_L0>;
			preview_high_speed_fps_cam = <DVFS_CAM_L0>;
			preview_high_speed_fps_mif = <DVFS_MIF_L0>;
			preview_high_speed_fps_i2c = <0>;
			video_high_speed_fps_int = <DVFS_INT_L0>;
			video_high_speed_fps_cam = <DVFS_CAM_L0>;
			video_high_speed_fps_mif = <DVFS_MIF_L0>;
			video_high_speed_fps_i2c = <0>;
			max_int = <DVFS_INT_L0>;
			max_cam = <DVFS_CAM_L0>;
			max_mif = <DVFS_MIF_L0>;
			max_i2c = <0>;
		};
	};
	leds_ktd2692 {
		compatible = "ktd2692";
		flash_control = <&gpe0 5 0x1>;
		status = "okay";
		pinctrl-names ="default","host","is";
		pinctrl-0 = <&fled_flash_front_sleep>;
		pinctrl-1 = <&fled_flash_front_active>;
		pinctrl-2 = <&fled_flash_front_sleep>;
	};
	pinctrl@139C0000 {
		hs_i2c1_bus: hs-i2c1-bus {
			samsung,pins = "gpc2-3", "gpc2-2";
			samsung,pin-function = <2>;
			samsung,pin-pud = <0>;
			samsung,pin-drv = <0>;
		};
		fled_flash_sleep: fled-flash-sleep {
			samsung,pins = "gpe0-2", "gpe0-1";
			samsung,pin-function = <2>;
			samsung,pin-pud = <1>;
			samsung,pin-drv = <0>;
		};
		fled_flash_active: fled-flash-active {
			samsung,pins = "gpe0-2", "gpe0-1";
			samsung,pin-function = <1>;
			samsung,pin-pud = <1>;
			samsung,pin-drv = <0>;
		};
		fled_flash_front_sleep: fled-flash-front-sleep {
			samsung,pins = "gpe0-5";
			samsung,pin-function = <2>;
			samsung,pin-pud = <1>;
			samsung,pin-drv = <0>;
		};
		fled_flash_front_active: fled-flash-front-active {
			samsung,pins = "gpe0-5";
			samsung,pin-function = <1>;
			samsung,pin-pud = <0>;
			samsung,pin-drv = <0>;
		};
	};
	ion {
		compatible = "samsung,exynos5430-ion";
	};
	decon_fb@14830000 {
		/* XEINT7, GPIO & pin control */
		gpios = <&gpd0 7 0xf>;
		psr_mode = <0>;		/* 0: video mode, 1: DP command mode, 2: MIPI command mode */
		trig_mode = <1>;	/* 0: hw trigger, 1: sw trigger */
		disp-pll-clk = <64500000>;
		gpio_err = <&gpa3 7 0x1>;
		status = "okay";
	};
	dsim_0: dsim@14800000 {
		lcd_info = <&ea8061>;
		decon_board = <&decon_board_list>;
		/* lcd reset, power_P, power_N */
		/* gpios = <&gpd1 3 0x1>; */
		/* lcd_vdd = "LCD_1P8"; */
		/* lcd_vdd_2 = "LCD_3P0"; */
		status = "okay";
	};
	decon_board_list: decon_board_list {
		dsim_set_panel_power_enable {
			type = "regulator,enable", "regulator,enable", "delay,usleep";
			delay = <10000 11000>;
			regulator = "LCD_1P8", "LCD_3P0";
		};
		dsim_set_panel_power_disable {
			type = "delay,usleep", "gpio,low", "delay,usleep", "regulator,disable", "regulator,disable";
			gpios = <&gpd1 3 0x1>;
			delay = <5000 6000>, <10000 11000>;
			regulator = "LCD_3P0", "LCD_1P8";
		};
		dsim_reset_panel {
			type = "gpio,high", "delay,usleep", "gpio,low", "delay,usleep", "gpio,high", "delay,usleep";
			gpios = <&gpd1 3 0x1>, <&gpd1 3 0x1>, <&gpd1 3 0x1>;
			delay = <10000 11000>, <10000 11000>, <10000 11000>;
		};
	};
	ea8061: ea8061_wxga {
		mode = <0>;
		resolution = <720 1280>;
		size = <68 121>;
		timing,refresh = <60>;
		/* HBP HFP HSW */
		timing,h-porch = <48 56 4>;
		/* VBP VFP VSW */
		timing,v-porch = <5 13 2>;
		timing,dsi-hs-clk = <481>;
		timing,dsi-escape-clk = <16>;
		mic = <0>;
		rev = <4>;
	};
	det_zones: det_zones {
		#list-det-cells = <4>;
	};
	but_zones: but_zones {
		#list-but-cells = <3>;
	};
	earjack {
		compatible = "sec_jack";
		detect-gpio = <&gpa3 1 0>;
	/*	ear-micbias-en-gpio = <&msmgpio 85 0>; */
		key-gpio = <&gpa3 0 0>;
	/*	ext-detchip-en-gpio = <310>; */
	/*	key-dbtime = <100>; */
		det-dbtime = <50>;
	/*	send-end-active-high; */
		det-zones-list = <&det_zones 3 10000 10 0>,
			<&det_zones 950 10000 10 2>,
			<&det_zones 2400 10000 10 1>,
			<&det_zones 9999 10000 10 1>;
		but-zones-list = <&but_zones 226 1 762>,
			<&but_zones 582 763 763>,
			<&but_zones 115 764 910>,
			<&but_zones 114 911 1700>;
		pinctrl-names = "default";
		pinctrl-0 = <&earjack_jack_det &earjack_key_det>;
		status = "okay";
	};
	i2s0: i2s@11040000 {
		status = "okay";
	};
	audio_cp_dummy: cp_dummy {
		compatible = "samsung,cp_dummy";
		status = "okay";
	};
	audio_bt_dummy: bt_dummy {
		compatible = "samsung,bt_dummy";
		status = "okay";
	};
	audio_fm_dummy: fm_dummy {
		compatible = "samsung,fm_dummy";
		status = "okay";
	};
	audio_codec_dummy: dummy-codec {
		compatible = "samsung,dummy-codec";
		status = "okay";
	};
	sound {
		compatible = "samsung,universal7580-cod3022x";
		samsung,audio-cpu = <&i2s0	/* primary */
					&i2s0	/* secondary */
					&audio_cp_dummy
					&audio_bt_dummy
					&audio_fm_dummy
					&eax
					&eax>;
		samsung,audio-codec = <&audio_codec_cod3022x
					&audio_codec_cod3022x
					&audio_codec_cod3022x
					&audio_codec_dummy
					&audio_codec_cod3022x
					&audio_codec_cod3022x
					&audio_codec_cod3022x>;
		samsung,auxdev = <&s2801x>;
		samsung,use-externel-jd;
		samsung,codec-uses-i2scdclk;		
		clocks = <&clock 151>;		 /* sclk_i2s */
		clock-names = "codec_bclk";
		mic-bias-mode = <1 2 0>;
		pinctrl-names = "default";
		io-channels = <&exynos_adc 2>;
		io-channel-names = "adc-jack";
		#io-channel-cells = <1>;
		io-channel-ranges;
		status = "okay";
	};
	usb_notifier {
		compatible = "samsung,usb-notifier";
	};
	pinctrl@139B0000 {
			proximity_int: proximity-int {
			samsung,pins = "gpa1-4";
			samsung,pin-function = <0>;
			samsung,pin-pud = <3>;
		};
	};
	hsi2c@13870000 {
		pinctrl-names = "default";
		pinctrl-0 = <&sensor_i2c>;
		status = "okay";
		#address-cells = <1>;
		#size-cells = <0>;
		k2hh-i2c@1D {
			compatible = "stm,k2hh-i2c";
			reg = <0x1D>;
			interrupt-parent = <&gpa1>;
			interrupts = <0 0 0>;
			k2hh,irq_gpio = <&gpa1 0 0>;
			k2hh,vio-supply = <&ldo3_reg>;
			k2hh,axis_map_x = <1>;
			k2hh,axis_map_y = <0>;
			k2hh,axis_map_z = <2>;
			k2hh,negate_x = <0>;
			k2hh,negate_y = <1>;
			k2hh,negate_z = <1>;
			k2hh,poll_interval = <100>;
			k2hh,min_interval = <2>;
		};
		cm36672p@60 {
			compatible = "cm36672p";
			reg = <0x60>;
			pinctrl-names = "default";
			pinctrl-0 = <&proximity_int>;
			interrupt-parent = <&gpa1>;
			interrupts = <4 0 0>;
			cm36672p,irq_gpio = <&gpa1 4 0>;
			cm36672p,vdd-supply = <&sm5703_ldo2_reg>;
			cm36672p,vled-supply = <&ldo34_reg>;
			cm36672p,default_hi_thd = <17>;
			cm36672p,default_low_thd = <13>;
			cm36672p,cancel_hi_thd = <10>;
			cm36672p,cancel_low_thd = <7>;
			cm36672p,ps_it = <4>;
			cm36672p,led_current = <5>;
			cm36672p,default_trim = <0>;
		};
		stk3013@48 {
			compatible = "stk,stk3013";
			reg = <0x48>;
			interrupt-parent =  <&gpa1>;
			interrupts = <4 0 0>;
			stk,vdd-supply = <&sm5703_ldo2_reg>;
			stk,vio-supply = <&ldo34_reg>;
			stk,irq-gpio = <&gpa1 4 0>;
			stk,state-reg = <0x2d>;
			stk,psctrl-reg = <0x70>;
			stk,alsctrl-reg = <0x2A>;
			stk,ledctrl-reg = <0xFF>;
			stk,wait-reg = <0x03>;
			stk,ps-thd-h = <18>;
			stk,ps-thd-l = <13>;
			stk,ps-cancel-thd-h = <10>;
			stk,ps-cancel-thd-l = <7>;
			stk,ps-cal-skip-adc = <8>;
			stk,ps-cal-fail-adc = <17>;
			stk,ps-default-offset = <0>;
			stk,transmittance = <500>;
		};
	};
	sec_vib {
		compatible = "sec_vib";
		sec_vib_pdata {
			status = "okay";
			sec_vib,max_timeout = <10000>;
			sec_vib,regulator = "VDD_MOTOR";
		};
	};
	serial_3: uart@11060000 {
		/* Enable AUD-UART for Bluetooth */
		pinctrl-0 = <&uart_bt_active &uart_bt_output_sleep &uart_bt_input_sleep>;
		status = "okay";
	};
	bluetooth {
		compatible = "broadcom,bcm43xx";
		gpios = <&gpc4 2 0x1	/*BT_EN*/
				&gpa2 2 0x1	/*BT_WAKE*/
				&gpa2 6 0xF	/*BT_HOST_WAKE*/ >;
		pinctrl-names = "default";
		pinctrl-0=<&bt_hostwake &bt_btwake &bt_en>;
		status = "okay";
	};
	input_booster {
		status = "okay";
		compatible = "input_booster";
		#address-cells = <1>;
		#size-cells = <0>;
		booster_key@1 {
			input_booster,label = "KEY";
			input_booster,type = <0>;	/* BOOSTER_DEVICE_KEY */
			input_booster,levels = <1>;
			/* Frequency table */
			/* for level	:	1_Head */
			input_booster,cpu_freqs = <1100000>;
			input_booster,hmp_boost = <0>;
			input_booster,kfc_freqs = <1100000>;
			input_booster,mif_freqs = <0>;
			input_booster,int_freqs = <0>;
			/* Time table */
			input_booster,head_times = <500>;
			input_booster,tail_times = <500>;
			input_booster,phase_times = <0>;
		};
		booster_key@2 {
			input_booster,label = "TOUCHKEY";
			input_booster,type = <1>;	/* BOOSTER_DEVICE_TOUCHKEY */
			input_booster,levels = <1>;
			/* Frequency table */
			/* for level	:	1_Head */
			input_booster,cpu_freqs = <1100000>;
			input_booster,hmp_boost = <0>;
			input_booster,kfc_freqs = <1100000>;
			input_booster,mif_freqs = <0>;
			input_booster,int_freqs = <0>;
			/* Time table */
			input_booster,head_times = <0>;
			input_booster,tail_times = <200>;
			input_booster,phase_times = <0>;
		};
		booster_key@3 {
			input_booster,label = "TOUCH";
			input_booster,type = <2>;	/* BOOSTER_DEVICE_TOUCH */
			input_booster,levels = <1 2 3>;
			/* Frequency table */
			/* for level	:	1_Head, 2_Head, 2_Tail */
			input_booster,cpu_freqs = <1100000 1100000 900000>;
			input_booster,hmp_boost = <0 0 0>;
			input_booster,kfc_freqs = <1100000 1100000 900000>;
			input_booster,mif_freqs = <0 0 0>;
			input_booster,int_freqs = <0 0 0>;
			/* Time table */
			input_booster,head_times = <200 200 0>;
			input_booster,tail_times = <300 300 0>;
			input_booster,phase_times = <0 0 0>;
		};
		booster_key@4 { // Input Booster +
			input_booster,label = "MULTITOUCH";
			input_booster,type = <3>;	/* BOOSTER_DEVICE_MULTITOUCH */
			input_booster,levels = <1 2>;
			/* Frequency table */
			/* for level	:	1_Head 2_Tail*/
			input_booster,cpu_freqs = <1300000 800000>;
			input_booster,hmp_boost = <0 0>;
			input_booster,kfc_freqs = <1300000 800000>;
			input_booster,mif_freqs = <0 0>;
			input_booster,int_freqs = <0 0>;
			/* Time table */
			input_booster,head_times = <1000 1000>;
			input_booster,tail_times = <500 500>;
			input_booster,phase_times = <0 0>;
		};
		booster_key@5 {
			input_booster,label = "KEYBOARD";
			input_booster,type = <4>;	/* BOOSTER_DEVICE_KEYBOARD */
			input_booster,levels = <1 2>;
			/* Frequency table */
			/* for level	:	1_Head 2_Tail*/
			input_booster,cpu_freqs = <1100000 1100000>;
			input_booster,hmp_boost = <0 0>;
			input_booster,kfc_freqs = <1100000 1100000>;
			input_booster,mif_freqs = <0 0>;
			input_booster,int_freqs = <0 0>;
			/* Time table */
			input_booster,head_times = <130 130>;
			input_booster,tail_times = <0 0>;
			input_booster,phase_times = <0 0>;
		};
		booster_key@6 {
			input_booster,label = "MOUSE";
			input_booster,type = <5>;	/* BOOSTER_DEVICE_MOUSE */
			input_booster,levels = <1 2>;
			/* Frequency table */
			/* for level	:	1_Head 2_Tail*/
			input_booster,cpu_freqs = <1100000 900000>;
			input_booster,hmp_boost = <0 0>;
			input_booster,kfc_freqs = <1100000 900000>;
			input_booster,mif_freqs = <0 0>;
			input_booster,int_freqs = <0 0>;
			/* Time table */
			input_booster,head_times = <130 130>;
			input_booster,tail_times = <500 500>;
			input_booster,phase_times = <0 0>;
		};
		booster_key@7 {
			input_booster,label = "MOUSE WHEEL";
			input_booster,type = <6>;	/* BOOSTER_DEVICE_MOUSE */
			input_booster,levels = <1 2>;
			/* Frequency table */
			/* for level	:	1_Head 2_Tail*/
			input_booster,cpu_freqs = <1100000 0>;
			input_booster,hmp_boost = <0 0>;
			input_booster,kfc_freqs = <1100000 0>;
			input_booster,mif_freqs = <0 0>;
			input_booster,int_freqs = <0 0>;
			/* Time table */
			input_booster,head_times = <130 0>;
			input_booster,tail_times = <0 0>;
			input_booster,phase_times = <0 0>;
		};
		booster_key@8 {
			input_booster,label = "PEN & HOVER";
			input_booster,type = <7>;	/* BOOSTER_DEVICE_PEN & HOVER */
			input_booster,levels = <1 2>;
			/* Frequency table */
			/* for level	:	1_Head 2_Tail*/
			input_booster,cpu_freqs = <1100000 900000>;
			input_booster,hmp_boost = <0 0>;
			input_booster,kfc_freqs = <1100000 900000>;
			input_booster,mif_freqs = <0 0>;
			input_booster,int_freqs = <0 0>;
			/* Time table */
			input_booster,head_times = <130 130>;
			input_booster,tail_times = <500 500>;
			input_booster,phase_times = <0 0>;
		};
		booster_key@9 {
			input_booster,label = "GAMEPAD";
			input_booster,type = <8>;	/* BOOSTER_DEVICE_GAMEPAD */
			input_booster,levels = <1 2>;
			/* Frequency table */
			/* for level	:	1_Head 2_Tail*/
			input_booster,cpu_freqs = <1300000 900000>;
			input_booster,hmp_boost = <0 0>;
			input_booster,kfc_freqs = <1300000 900000>;
			input_booster,mif_freqs = <0 0>;
			input_booster,int_freqs = <0 0>;
			/* Time table */
			input_booster,head_times = <130 130>;
			input_booster,tail_times = <500 500>;
			input_booster,phase_times = <0 0>;
		}; // Input Booster -
		/* If you need to add new key type, add it this position */
	};
	pinctrl@14CC0000 {
		uart0_rts: uart0-rts {
			samsung,pins = "gpb0-7";
			samsung,pin-function = <2>;
			samsung,pin-pud = <0>;
			samsung,pin-con-pdn = <1>;
			samsung,pin-pud-pdn = <0>;
		};
		uart0_cts: uart0-cts {
			samsung,pins = "gpb0-6";
			samsung,pin-function = <2>;
			samsung,pin-pud = <0>;
			samsung,pin-con-pdn = <2>;
			samsung,pin-pud-pdn = <1>;
		};
		uart0_tx: uart0-tx {
			samsung,pins = "gpb0-5";
			samsung,pin-function = <2>;
			samsung,pin-pud = <0>;
			samsung,pin-con-pdn = <2>;
			samsung,pin-pud-pdn = <3>;
		};
		uart0_rx: uart0-rx {
			samsung,pins = "gpb0-4";
			samsung,pin-function = <2>;
			samsung,pin-pud = <3>;
			samsung,pin-con-pdn = <2>;
			samsung,pin-pud-pdn = <3>;
		};
	};
	serial@14C10000 {
		pinctrl-0 = <&uart0_rts &uart0_cts &uart0_tx &uart0_rx>;
	};
	gps {
		compatible = "samsung,exynos-bcm4752";
		gpios = <&gpd2 6 0x1>;
		status = "okay";
	};
	hall {
		compatible = "hall";
		pinctrl-names = "default";
		pinctrl-0 = <&hall_irq>;
		hall,gpio_flip_cover = <&gpa3 6 0>;
		status = "okay";
	};
	argos {
		compatible = "samsung,argos";
		#address-cells = <1>;
		/*  The device number should be assigned for each device, e.g. "boot_device@1" and "boot_device@2".
		    Duplicated number is not allowed. Please refer the below example. */
		/* Table Format should be
		 * <Throughput(Mbps) ARM_min ARM_max KFC_min KFC_max MIF INT Task IRQ>
		 * ARM_min : Big Core's minimum frequency lock. 0 means not set,
		 * ARM_max : Big Core's maximum frequency lock. 0 means not set,
		 * KFC_min : Little Core's minimum frequency lock. 0 means not set,
		 * KFC_max : Little Core's maximum frequency lock. 0 means not set,
		 * MIF : MIF frequency lock. 0 means not set,
		 * INT : INT frequency lock. 0 means not set,
		 * Task : 1 - Set task affinity lock.
		 *        0 - Not set or unlock,
		 *              Task affinity should be predefined driver's code.
		 * IRQ : 1 - Set irq affinity lock.
		 *       0 - Not set or unlock,
		 *              Task affinity should be predefined driver's code.
		 */
		boot_device@1 {
			net_boost,label="IPC";
			net_boost,node="rmnet0 rmnet1 rmnet2 rmnet3 rmnet4 rmnet5 rmnet6 rmnet7 umts_dm0";
			net_boost,table_size = <3>;
			net_boost,table= <  1 0 0 0 0 0 0 0 1
					   20 0 0 800000 0 416000 100000 0 1
					   50 0 0 1000000 0 825000 100000 0 1
					  100 0 0 1400000 0 825000 100000 0 1>;
		};
		/* Example
		   boot_device@2 {
		   net_boost,label="EMMC";
		   net_boost,node="";
		   net_boost,sysnode="/sys/class/mmc_host/mmc0/trans_count";
		   net_boost,table_size = <1>;
		   net_boost,table= <64 0 0 1300000 0 825000 400000 0 0>;
		   };
		   boot_device@3 {
		   net_boost,label="WIFI";
		   net_boost,node="wlan0";
		   net_boost,table_size = <3>;
		   net_boost,table= <60 1000000 0 800000 0 0 200000 0 0
		   100 1200000 0 1000000 0 0 200000 0 0
		   180 1700000 0 1100000 0 543000 267000 0 0>;
		   };
		   boot_device@4 {
		   net_boost,label="P2P";
		   net_boost,node="p2p-wlan0-0";
		   net_boost,table_size = <3>;
		   net_boost,table= <30 1000000 0 800000 0 0 200000 0 0
		   50 1200000 0 1000000 0 0 200000 0 0
		   90 1700000 0 1100000 0 543000 267000 0 0>;
		   };
		   boot_device@5 {
		   net_boost,label="CLAT";
		   net_boost,node="clat clat4";
		   net_boost,table_size = <3>;
		   net_boost,table= <120 1400000 0 0 0 825000 0 0 0
		   130 1500000 0 0 0 825000 0 0 0
		   150 1600000 0 0 0 825000 0 0 0>;
		   };
		 */
	};
	mif_pdata {
		pinctrl-names = "default";
		pinctrl-0 = <&cp_rst_n &ds_det>;
		/* To do: will be remove, for system revision */
		gpios = <&gpd0 0 0x0>,
		       <&gpd0 1 0x0>,
		       <&gpd0 2 0x0>,
		       <&gpd0 3 0x0>;
		modem_ctrl,gpio_cp_rst_n = <&gpe0 6 0x1>;
		mif,gpio_ds_det = <&gpd0 4 0x0>;
		mif,ap_clk_table = <
			/* khz */
			1600000
			1500000
			1400000
			1300000
			1200000
			1100000
			1000000
			900000
			800000
			700000
			600000
			500000
			400000
			300000
			>;
		mif,mif_clk_table = <
			/* khz */
			825000
			728000
			667000
			559000
			416000
			338000
			273000
			200000
			>;
	};
	pinctrl@139C0000 {
		ds_det: ds_det {
			samsung,pins = "gpd0-4";
			samsung,pin-function = <0>;	/* INPUT */
			samsung,pin-pud = <0>;
			samsung,pin-con-pdn = <3>;	/* PREV STATE */
			samsung,pin-pud-pdn = <0>;
		};
		cp_rst_n: cp_rst_n {
			samsung,pins = "gpe0-6";
			samsung,pin-function = <1>;	/* OUTPUT */
			samsung,pin-pud = <0>;		/* PU & PD DISABLE */
			samsung,pin-con-pdn = <1>;	/* OUTPUT 1 */
			samsung,pin-pud-pdn = <0>;	/* PU & PD DISABLE */
		};
		sensor_i2c: sensor_i2c {
			samsung,pins = "gpc2-1", "gpc2-0";
			samsung,pin-function = <2>;
			samsung,pin-pud = <0>;
			samsung,pin-drv = <0>;
		};
	};

	sec_thermistor@0 {
		compatible = "samsung,sec-ap-thermistor";
		status = "okay";

		adc_array = <287 296 306 316 326 335 345 355 365 374
				          384 409 434 459 484 509 515 521 527 533
					  539 555 572 588 605 627 649 672 694 719
					  745 766 788 806 824 874 915 956 973 990
					  1015 1050 1084 1121 1155 1192 1235 1271 1308 1353
					  1399 1435 1471 1507 1543 1579 1627 1676 1724 1773
					  1822 1861 1900 1939 1978 2017 2056 2095 2134 2173
					  2212 2242 2275 2308 2341 2374 2419 2463 2508 2552
					  2597 2629 2661 2694 2726 2758 2790 2823 2855 2883
					  2911 2949 2975 3001 3027 3054 3080 3105 3130 3155
					  3180 3196 3213 3230 3246 3263 3271 3280 3288 3297 3305>;
		temp_array = <900 890 880 870 860 850 840 830 820 810
					   800 790 780 770 760 750 740 730 720 710
					   700 690 680 670 660 650 640 630 620 610
					   600 590 580 570 560 550 540 530 520 510
					   500 490 480 470 460 450 440 430 420 410
					   400 390 380 370 360 350 340 330 320 310
					   300 290 280 270 260 250 240 230 220 210
					   200 190 180 170 160 150 140 130 120 110
					   100 90 80 70 60 50 40 30 20 10
					   0 (-10) (-20) (-30) (-40) (-50) (-60) (-70) (-80) (-90)
					   (-100) (-110) (-120) (-130) (-140) (-150) (-160) (-170) (-180) (-190) (-200)>;
		io-channels = <&exynos_adc 0>;
		io-channel-names = "adc-ap-temp";
		io-channel-ranges;
	};
};
